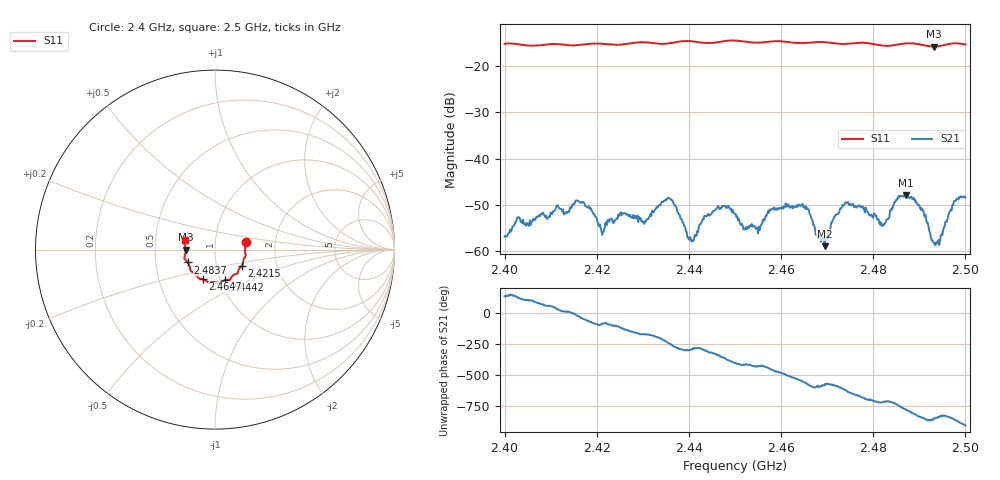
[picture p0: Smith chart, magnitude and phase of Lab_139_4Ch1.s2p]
# Hz S RI R 50
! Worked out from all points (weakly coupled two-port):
!   601 points, 2.4 GHz to 2.5 GHz, reference 50 ohm
!   highest |S21| = -47.90 dB at 2.4872 GHz (marker M1); lowest = -59.0 dB at 2.4695 GHz (marker M2)
!   lowest |S11| = -15.7 dB at 2.4932 GHz (marker M3), VSWR 1.39, Z = 35.9 - j0.0584 ohm
!   |S11| at or under -10 dB: start of sweep to end of sweep
!   S12 and S22 are empty: the file has one direction only
!   S11 on the Smith chart (normalised r, x): 2.4 GHz: 1.41, +0.12; 2.4215 GHz: 1.33, -0.25; 2.4442 GHz: 1.05, -0.37; 2.4647 GHz: 0.83, -0.28; 2.4837 GHz: 0.73, -0.11; 2.5 GHz: 0.71, +0.08
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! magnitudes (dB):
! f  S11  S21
! 2.4 GHz  -15.1  -57.0
! 2.4028 GHz  -15.2  -52.7
! 2.4167 GHz  -15.3  -49.6
! 2.4215 GHz  -15.1  -55.9
! 2.4333 GHz  -15.1  -50.3
! 2.436 GHz  -15.0  -48.8
! 2.4405 GHz  -14.6  -57.9
! 2.4442 GHz  -15.0  -52.0
! 2.45 GHz  -14.4  -52.0
! 2.455 GHz  -14.9  -56.3
! 2.458 GHz  -14.6  -50.8
! 2.4647 GHz  -15.0  -49.8
! 2.4667 GHz  -14.8  -53.3
! 2.4695 GHz  -14.8  -59.0
! 2.4742 GHz  -15.1  -49.6
! 2.4833 GHz  -15.6  -53.0
! 2.4837 GHz  -15.5  -51.2
! 2.4872 GHz  -15.0  -47.9
! 2.4903 GHz  -15.3  -51.1
! 2.4932 GHz  -15.7  -58.3
! 2.4977 GHz  -15.0  -49.2
! 2.5 GHz  -15.3  -48.5
